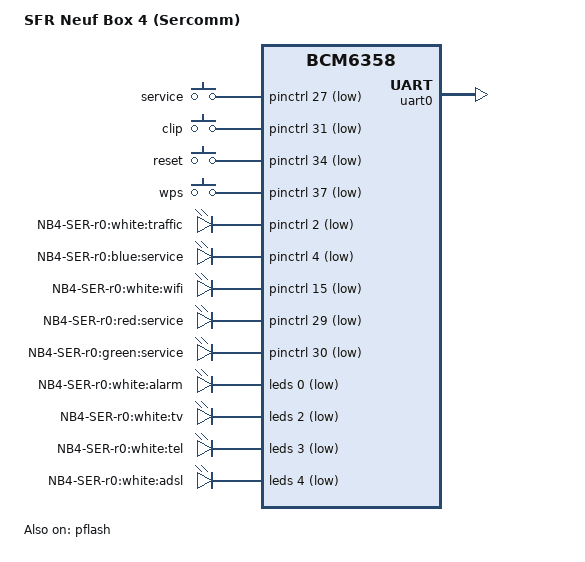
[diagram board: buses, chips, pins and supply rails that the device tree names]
/dts-v1/;

#include "bcm6358.dtsi"

#include <dt-bindings/input/input.h>

/ {
	model = "SFR Neuf Box 4 (Sercomm)";
	compatible = "sfr,nb4-ser-r0", "brcm,bcm6358";

	chosen {
		bootargs = "rootfstype=squashfs,jffs2 noinitrd console=ttyS0,115200";
		stdout-path = "serial0:115200n8";
	};

	gpio-keys-polled {
		compatible = "gpio-keys-polled";
		#address-cells = <1>;
		#size-cells = <0>;
		poll-interval = <20>;
		debounce-interval = <60>;

		service {
			label = "service";
			gpios = <&pinctrl 27 1>;
			linux,code = <BTN_0>;
		};
		clip {
			label = "clip";
			gpios = <&pinctrl 31 1>;
			linux,code = <BTN_1>;
		};
		reset {
			label = "reset";
			gpios = <&pinctrl 34 1>;
			linux,code = <KEY_RESTART>;
		};
		wps {
			label = "wps";
			gpios = <&pinctrl 37 1>;
			linux,code = <KEY_WPS_BUTTON>;
		};
	};

	gpio-leds {
		compatible = "gpio-leds";

		traffic_white {
			label = "NB4-SER-r0:white:traffic";
			gpios = <&pinctrl 2 1>;
		};
		service_blue {
			label = "NB4-SER-r0:blue:service";
			gpios = <&pinctrl 4 1>;
		};
		wifi_white {
			label = "NB4-SER-r0:white:wifi";
			gpios = <&pinctrl 15 1>;
		};
		service_red {
			label = "NB4-SER-r0:red:service";
			gpios = <&pinctrl 29 1>;
		};
		service_green {
			label = "NB4-SER-r0:green:service";
			gpios = <&pinctrl 30 1>;
		};
	};
};

&leds {
	status = "ok";

	pinctrl-names = "default";
	pinctrl-0 = <&pinctrl_serial_led>;

	led@0 {
		reg = <0>;
		active-low;
		label = "NB4-SER-r0:white:alarm";
	};

	led@2 {
		reg = <2>;
		active-low;
		label = "NB4-SER-r0:white:tv";
	};

	led@3 {
		reg = <3>;
		active-low;
		label = "NB4-SER-r0:white:tel";
	};

	led@4 {
		reg = <4>;
		active-low;
		label = "NB4-SER-r0:white:adsl";
	};
};

&pflash {
	status = "ok";

	partitions {
		compatible = "brcm,bcm963xx-cfe-nor-partitions";
	};
};

&uart0 {
	status = "ok";
};
